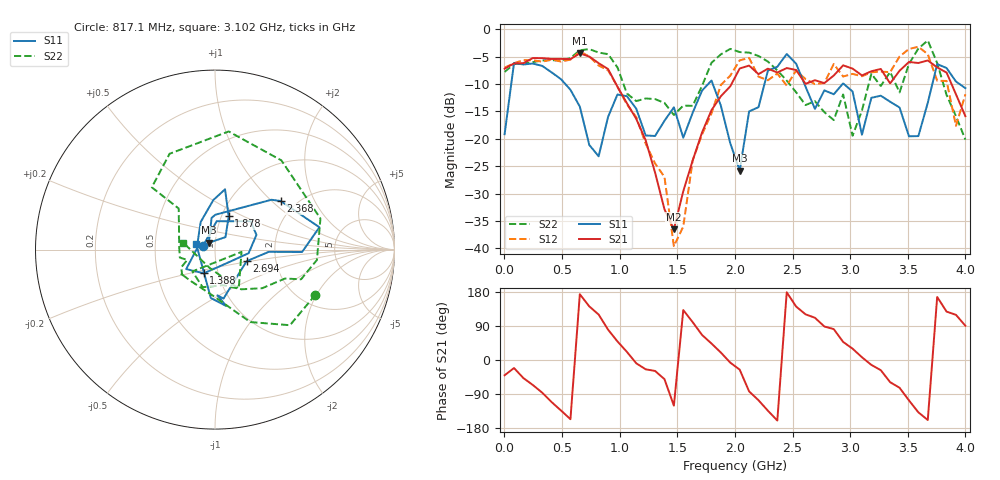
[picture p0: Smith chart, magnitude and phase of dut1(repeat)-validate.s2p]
!Created with skrf (http://scikit-rf.org).
# GHz S DB R 50.0
!freq dBS11 angS11 dBS21 angS21 dBS12 angS12 dBS22 angS22
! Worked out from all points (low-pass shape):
!   50 points, 1 MHz to 4 GHz, reference 50 ohm
!   highest |S21| = -4.40 dB at 653.9 MHz (marker M1); lowest = -36.5 dB at 1.47 GHz (marker M2)
!   |S21| within 3 dB of the highest: start of sweep to 902.5 MHz; 3.438 GHz to 3.793 GHz (355.2 MHz wide, 9.83 % of centre)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
!   lowest |S11| = -25.8 dB at 2.041 GHz (marker M3), VSWR 1.11, Z = 46.6 + j3.56 ohm
!   |S11| at or under -10 dB: 528.1 MHz to 1.768 GHz (1.24 GHz wide, 108 % of centre); 1.808 GHz to 2.256 GHz (448.2 MHz wide, 22.1 % of centre); 2.945 GHz to 3.713 GHz (767.6 MHz wide, 23.1 % of centre)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
!   |S22| runs from -20.2 to -2.0 dB; largest |S21 - S12| = 0.35
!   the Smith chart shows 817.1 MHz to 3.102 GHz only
!   S11 on the Smith chart (normalised r, x): 817.1 MHz: 0.88, +0.04; 1.388 GHz: 0.85, -0.23; 1.878 GHz: 1.08, +0.42; 2.368 GHz: 1.67, +1.14; 2.694 GHz: 1.41, -0.19; 3.102 GHz: 0.81, +0.05
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0.001  -19.16 91.2  -7.20 -40.3  -7.02 -86.3  -7.79 -141.0
0.08261224  -6.17 163.0  -6.23 -21.2  -6.19 -21.4  -6.33 168.4
0.327449  -6.68 106.5  -5.27 -86.2  -5.92 -82.7  -5.69 125.2
0.653898  -14.12 7.9  -4.40 173.6  -4.06 174.6  -3.83 44.5
0.7355102  -21.11 -56.7  -4.98 141.6  -4.95 135.7  -3.62 14.8
0.8171224  -23.20 160.9  -6.19 119.9  -6.62 101.9  -4.25 -24.3
0.9803469  -11.91 38.4  -10.49 49.1  -10.48 38.3  -6.95 -64.0
1.388408  -16.70 -115.5  -32.88 -50.6  -26.97 -63.5  -13.45 -152.2
1.47002  -14.26 -145.9  -36.52 -120.4  -39.61 -92.9  -15.65 -159.6
1.878082  -13.96 67.6  -12.22 19.6  -10.15 27.6  -4.57 115.3
2.041306  -25.80 131.9  -7.15 -25.4  -5.67 -40.3  -4.16 53.3
2.367755  -6.84 36.5  -7.89 -159.7  -8.08 -167.2  -7.49 -22.5
2.694204  -14.54 -20.2  -9.30 111.4  -10.01 118.6  -13.14 -108.1
2.939041  -9.88 -78.7  -6.58 47.7  -8.63 51.0  -11.90 -58.6
3.020653  -11.35 -95.0  -7.18 30.0  -8.14 26.4  -19.44 -105.7
3.102265  -19.26 163.8  -8.42 7.2  -8.58 6.5  -14.84 167.8
3.347102  -13.23 123.8  -9.88 -58.6  -7.83 -69.2  -7.80 130.1
3.510327  -19.54 61.4  -5.97 -106.6  -3.60 -91.0  -6.33 90.0
3.673551  -13.43 116.0  -5.69 -158.4  -4.54 -162.9  -2.04 39.7
3.755163  -6.35 88.1  -6.96 166.2  -9.39 136.2  -6.16 10.0
3.918388  -9.55 38.1  -11.89 119.1  -17.63 148.1  -15.88 -67.8
4  -10.75 28.7  -15.88 90.3  -11.88 96.8  -20.16 -75.3
